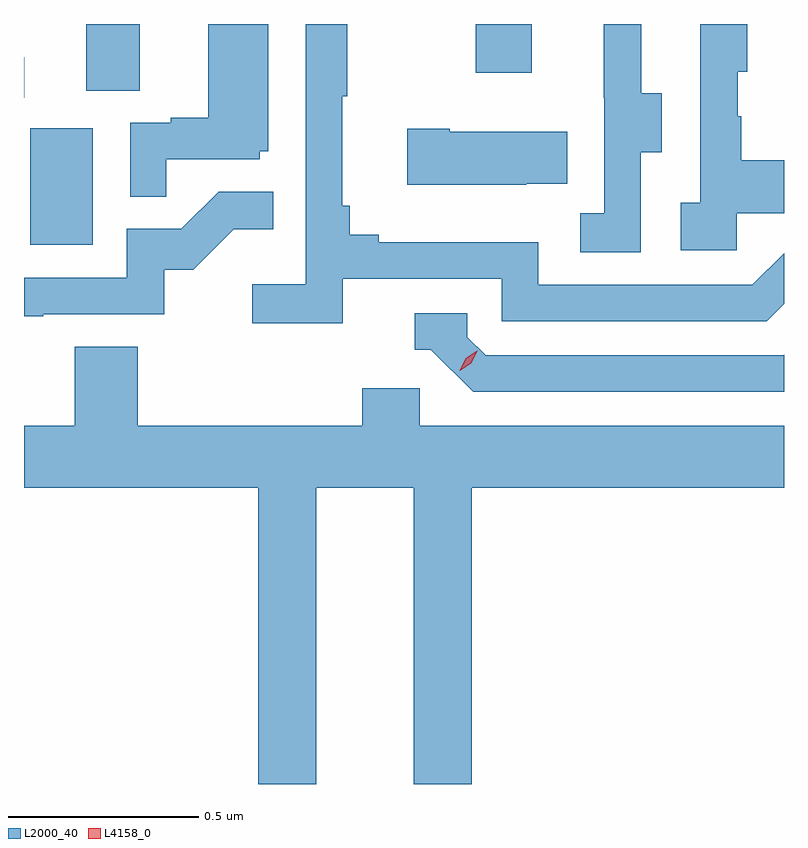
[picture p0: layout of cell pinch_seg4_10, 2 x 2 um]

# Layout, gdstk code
import gdstk
lib = gdstk.Library(unit=1e-6, precision=1e-09)
def R(c, l, rs):  # rectangles x0, y0, x1, y1
    for r in rs: c.add(gdstk.rectangle(r[:2], r[2:], *l))
def P(c, l, *ps):  # polygons
    for p in ps: c.add(gdstk.Polygon(p, *l))
L2000_40 = (2000, 40)
L4158_0 = (4158, 0)

pinch_seg4_10 = lib.new_cell('pinch_seg4_10')
R(pinch_seg4_10, L2000_40, [(1082.846,813.444,1083.01,813.751), (1082.829,813.831,1082.83,813.937), (1084.018,813.897,1084.165,814.025)])
P(pinch_seg4_10, L2000_40, [(1083.133,814.025),(1082.981,814.025),(1082.981,814.024),(1082.993,814.024),(1082.993,813.85),(1083.133,813.85)],
  [(1083.203,813.669),(1083.45,813.669),(1083.45,813.69),(1083.472,813.69),(1083.472,814.025),(1083.314,814.025),(1083.314,813.778),(1083.215,813.778),(1083.215,813.765),(1083.108,813.765),(1083.108,813.571),(1083.203,813.571)],
  [(1084.452,813.688),(1084.507,813.688),(1084.507,813.843),(1084.453,813.843),(1084.453,814.025),(1084.355,814.025),(1084.355,813.831),(1084.356,813.831),(1084.356,813.527),(1084.293,813.527),(1084.293,813.424),(1084.452,813.424)],
  [(1084.704,813.527),(1084.829,813.527),(1084.829,813.667),(1084.717,813.667),(1084.717,813.782),(1084.707,813.782),(1084.707,813.9),(1084.732,813.9),(1084.732,814.025),(1084.608,814.025),(1084.608,813.554),(1084.557,813.554),(1084.557,813.429),(1084.704,813.429)],
  [(1083.668,813.354),(1084.086,813.354),(1084.086,813.243),(1084.783,813.243),(1084.829,813.289),(1084.829,813.422),(1084.746,813.339),(1084.182,813.339),(1084.182,813.451),(1083.763,813.451),(1083.763,813.47),(1083.686,813.47),(1083.686,813.547),(1083.667,813.547),(1083.667,813.835),(1083.679,813.835),(1083.679,814.025),(1083.57,814.025),(1083.57,813.34),(1083.429,813.34),(1083.429,813.238),(1083.668,813.238)],
  [(1084.151,813.605),(1084.259,813.605),(1084.259,813.742),(1083.949,813.742),(1083.949,813.75),(1083.837,813.75),(1083.837,813.602),(1084.151,813.602)],
  [(1082.879,813.261),(1083.198,813.261),(1083.198,813.378),(1083.274,813.378),(1083.381,813.485),(1083.485,813.485),(1083.485,813.584),(1083.341,813.584),(1083.243,813.486),(1083.099,813.486),(1083.099,813.357),(1082.829,813.357),(1082.829,813.256),(1082.879,813.256)],
  [(1084.829,813.155),(1084.827,813.153),(1084.044,813.153),(1083.996,813.201),(1083.996,813.264),(1083.857,813.264),(1083.857,813.168),(1083.9,813.168),(1084.011,813.057),(1084.829,813.057)],
  [(1083.598,812.804),(1083.854,812.804),(1083.854,812.025),(1084.007,812.025),(1084.007,812.804),(1084.829,812.804),(1084.829,812.968),(1083.87,812.968),(1083.87,813.066),(1083.719,813.066),(1083.719,812.968),(1083.128,812.968),(1083.128,813.176),(1082.963,813.176),(1082.963,812.968),(1082.829,812.968),(1082.829,812.804),(1083.446,812.804),(1083.446,812.025),(1083.598,812.025)])
P(pinch_seg4_10, L4158_0, [(1083.976,813.112),(1083.976,813.112),(1083.991,813.145),(1084.022,813.165),(1084.022,813.165),(1084.022,813.164),(1084.006,813.132),(1083.976,813.112)])

lib.write_gds('pinch_seg4_10.gds')
